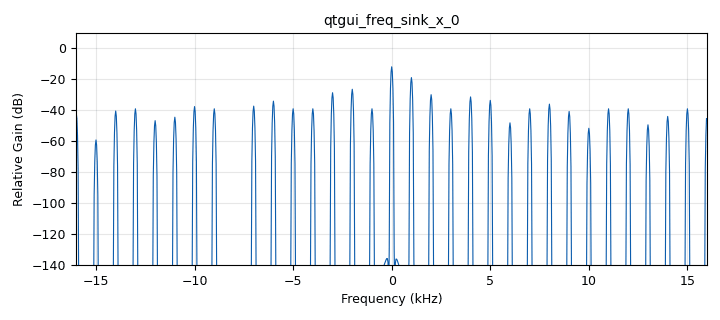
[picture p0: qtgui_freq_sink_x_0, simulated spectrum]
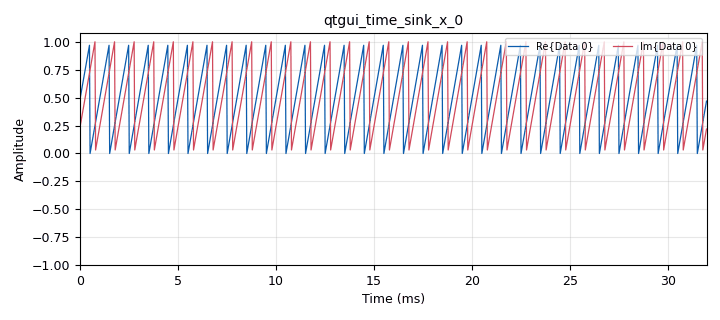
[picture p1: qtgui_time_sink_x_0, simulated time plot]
options:
  parameters:
    author: labcomgrupo8
    generate_options: qt_gui
    id: lab_0_1
    output_language: python
    title: lab_0_1
  states: {}

blocks:
- name: A
  id: variable_qtgui_range
  parameters:
    label: amplitud
    orient: Qt.Horizontal
    start: '1'
    step: '0.01'
    stop: '5'
    value: '1'
  states: {}
- name: F
  id: variable_qtgui_range
  parameters:
    label: frecuency
    orient: Qt.Horizontal
    start: '1000'
    step: '100'
    stop: '10000'
    value: '1000'
  states: {}
- name: samp_rate
  id: variable
  parameters:
    value: '32000'
  states: {}
- name: analog_sig_source_x_0
  id: analog_sig_source_x
  parameters:
    amp: A
    freq: F
    offset: '0'
    phase: '0'
    samp_rate: samp_rate
    type: complex
    waveform: analog.GR_SAW_WAVE
  states: {}
- name: qtgui_freq_sink_x_0
  id: qtgui_freq_sink_x
  parameters:
    bw: samp_rate
    fc: '0'
    fftsize: '1024'
    type: complex
    wintype: firdes.WIN_BLACKMAN_hARRIS
  states: {}
- name: qtgui_time_sink_x_0
  id: qtgui_time_sink_x
  parameters:
    size: '1024'
    srate: samp_rate
    type: complex
  states: {}

connections:
- [analog_sig_source_x_0, '0', qtgui_freq_sink_x_0, '0']
- [analog_sig_source_x_0, '0', qtgui_time_sink_x_0, '0']

metadata:
  file_format: 1
